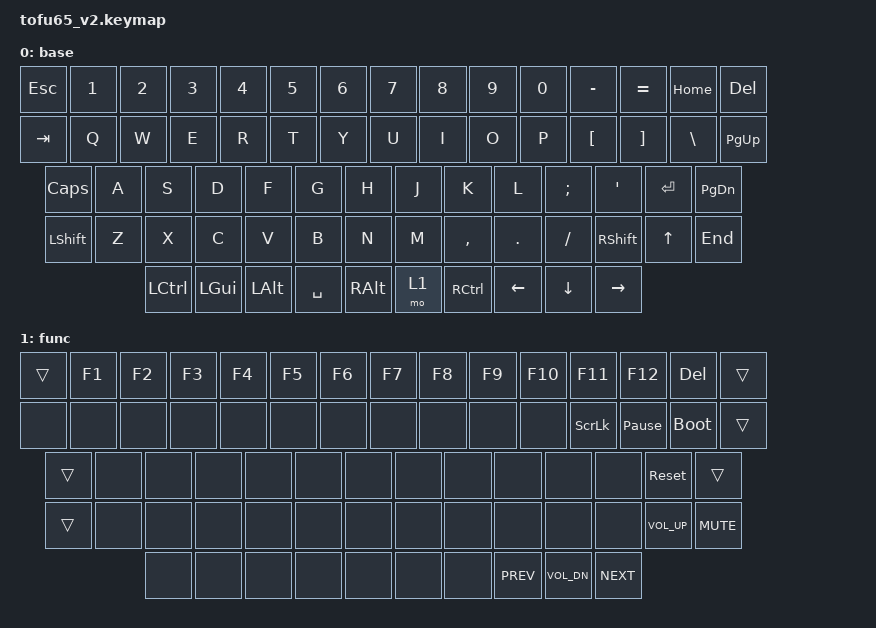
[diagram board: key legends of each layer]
# Copyright (c) 2023 The ZMK Contributors
# SPDX-License-Identifier: MIT

#include <behaviors.dtsi>
#include <dt-bindings/zmk/keys.h>

/ {
    keymap {
        compatible = "zmk,keymap";

        base {

// --------- Default QWERTY Layout ---------
// Layer 0
// -------------------------------------------------------------------------------------------------
// | ESC |  1  |  2  |  3  |  4  |  5  |  6  |  7  |  8  |  9  |  0  | -   |  =  |    BKSP   | HME |
// -------------------------------------------------------------------------------------------------
// | TAB    |  Q  |  W  |  E  |  R  |  T  |  Y  |  U  |  I  |  O  |  P  |  [  |  ]   |   \   | PGU |
// -------------------------------------------------------------------------------------------------
// | CAPS    |  A  |  S  |  D  |  F  |  G  |  H  |  J  |  K  |  L  |  ;  |  '   |    ENTER   | PGD |
// -------------------------------------------------------------------------------------------------
// | LSHIFT     |  Z  |  X  |  C  |  V  |  B  |  N  |  M  |  ,  |  .  |  /  |    RSHFT |  ↑  | END |
// -------------------------------------------------------------------------------------------------
// | LCTL | LGUI | LALT |                     SPACE         | RALT | RGUI | RCTL |  <- |  ↓  | ->  |
// -------------------------------------------------------------------------------------------------
            bindings = <
&kp ESC  &kp N1  &kp N2  &kp N3  &kp N4  &kp N5  &kp N6  &kp N7  &kp N8  &kp N9  &kp N0  &kp MINUS &kp EQUAL  &kp HOME  &kp DEL
&kp TAB   &kp Q   &kp W   &kp E   &kp R   &kp T   &kp Y   &kp U   &kp I   &kp O   &kp P   &kp LBKT  &kp RBKT   &kp BSLH &kp PG_UP
&kp CLCK   &kp A   &kp S   &kp D   &kp F   &kp G   &kp H   &kp J   &kp K   &kp  L  &kp SEMI &kp SQT      &kp ENTER      &kp PG_DN
&kp LSHFT   &kp Z   &kp X   &kp C   &kp V   &kp B   &kp N   &kp M   &kp COMMA &kp DOT &kp FSLH  &kp RSHFT      &kp UP   &kp END
&kp LCTRL &kp LGUI &kp LALT            &kp SPACE                     &kp RALT  &mo 1   &kp RCTRL   &kp LEFT   &kp DOWN  &kp RIGHT
            >;
        };

        func {
// --------- Default QWERTY Layout ---------
// Layer 0
// ---------------------------------------------------------------------------------------------------
// | ESC | F1  | F2  | F3  | F4  | F5  | F6  | F7  | F8  | F9  | F10 | F11 | F12 |    DEL     | HME  |
// ---------------------------------------------------------------------------------------------------
// | ---    | -- | -- | -- | -- | -- | -- | -- | -- | -- | -- |scroll lck| pause | bootloader | PGU  |
// ---------------------------------------------------------------------------------------------------
// | CAPS    | -- | -- | -- | -- | -- | -- | -- | -- | -- | -- | -- |       system reset      | PGD  |
// ---------------------------------------------------------------------------------------------------
// | LSHIFT     | -- | -- | -- | -- | -- | -- | -- | -- | -- | -- |      -----      | VOL UP  | MUTE |
// ---------------------------------------------------------------------------------------------------
// | ---- | ---- | ---- |                     ----         | -- | MO 1 | -- | PREV  | VOL DN  | NEXT |
// ---------------------------------------------------------------------------------------------------
            bindings = <
&trans &kp F1  &kp F2  &kp F3  &kp F4  &kp F5  &kp F6  &kp F7  &kp F8  &kp F9  &kp F10  &kp F11  &kp F12         &kp DEL       &trans
&none     &none   &none   &none   &none   &none   &none   &none   &none   &none   &none   &kp SLCK  &kp PAUSE_BREAK &bootloader &trans
&trans    &none   &none   &none   &none   &none   &none   &none   &none   &none   &none   &none                 &sys_reset      &trans
&trans      &none   &none   &none   &none   &none   &none   &none   &none     &none   &none                 &none &kp C_VOL_UP  &kp C_MUTE
&none     &none    &none               &none                         &none     &none   &none         &kp C_PREV   &kp C_VOL_DN  &kp C_NEXT
            >;
        };
    };
};
